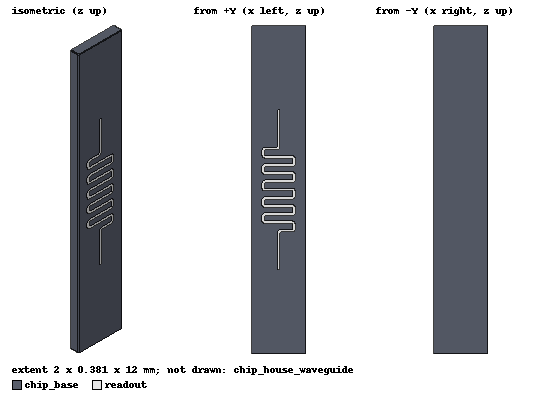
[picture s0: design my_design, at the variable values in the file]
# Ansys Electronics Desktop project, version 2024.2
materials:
  vacuum: permittivity=1
  perfect conductor: conductivity=1e+30
  silicon: permittivity=11.9
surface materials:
  Steel-oxidised-surface

design my_design (HFSS, Eigenmode, model units mm)
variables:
  spacer_length = 0.001mm
  chip_house_length = 22mm
  chip_house_radius = 2mm
  chip_base_length = 12mm
  chip_base_thickness = 381um
  chip_base_width = 2mm
  purcell_readout_gap = 2mm
  antenna_edge_gap = 0.375mm
  transmon_orientation_port_x = 0
  transmon_orientation_port_y = chip_base_thickness / 2
  transmon_orientation_port_z = -chip_house_length - spacer_length + chip_base_length-transmon_size_z - antenna_edge_gap
  transmon_size_z = 2599.998um
  readout_e1_x = 0
  readout_e1_y = chip_base_thickness / 2
  readout_e1_z = -chip_base_length/2 + readout_size_z/2
  readout_size_z = 5840um
  purcell_size_z = 5520um
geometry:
  chip_house_waveguide [vacuum] = cylinder(axis=Z, base_centre=(0mm, 0mm, -chip_base_length), radius=chip_house_radius, height=chip_base_length)
  chip_base [silicon] = box(corner=(-chip_base_width / 2, -chip_base_thickness / 2, -chip_base_length), size=(chip_base_width, chip_base_thickness, chip_base_length))
  readout = polyline((readout_e1_x + -612.4999999999998um, readout_e1_y + 7.00845618948457e-15um, readout_e1_z + -1817.633um) (readout_e1_x + -611.3659999999998um, readout_e1_y + 6.995480533453753e-15um, readout_e1_z + -1786.234um) (readout_e1_x + -607.0429999999998um, readout_e1_y + 6.946015135727807e-15um, readout_e1_z + -1760.6480000000001um) (readout_e1_x + -598.9089999999998um, readout_e1_y + 6.852942837531452e-15um, readout_e1_z + -1737.608um) (readout_e1_x + -593.3399999999998um, readout_e1_y + 6.789220237500041e-15um, readout_e1_z + -1727.038um) (readout_e1_x + -586.9019999999998um, readout_e1_y + 6.715554211462651e-15um, readout_e1_z + -1717.372um) (readout_e1_x + -579.4669999999998um, readout_e1_y + 6.630480135105396e-15um, readout_e1_z + -1708.435um) (readout_e1_x + -571.2519999999998um, readout_e1_y + 6.536481004335413e-15um, readout_e1_z + -1700.512um) (readout_e1_x + -562.1719999999998um, readout_e1_y + 6.432584217069258e-15um, readout_e1_z + -1693.473um) (readout_e1_x + -552.0699999999998um, readout_e1_y + 6.316993320046935e-15um, readout_e1_z + -1687.222um) (readout_e1_x + -529.7159999999998um, readout_e1_y + 6.061210414480016e-15um, readout_e1_z + -1677.702um) (readout_e1_x + -504.7799999999998um, readout_e1_y + 5.7758832903314664e-15um, readout_e1_z + -1672.1290000000001um) (readout_e1_x + -487.86799999999977um, readout_e1_y + 5.582369802859527e-15um, readout_e1_z + -1670.505um) (readout_e1_x + -467.0489999999998um, readout_e1_y + 5.344150946681767e-15um, readout_e1_z + -1670.003um) (readout_e1_x + 473.0150000000002um, readout_e1_y + -5.412416170561662e-15um, readout_e1_z + -1669.953um) (readout_e1_x + 488.7020000000002um, readout_e1_y + -5.591912745654632e-15um, readout_e1_z + -1669.118um) (readout_e1_x + 499.70800000000025um, readout_e1_y + -5.7178475518937624e-15um, readout_e1_z + -1666.905um) (readout_e1_x + 506.01100000000025um, readout_e1_y + -5.789968856975103e-15um, readout_e1_z + -1663.6960000000001um) (readout_e1_x + 509.06100000000026um, readout_e1_y + -5.824868108204373e-15um, readout_e1_z + -1658.204um) (readout_e1_x + 511.42900000000026um, readout_e1_y + -5.85196365801123e-15um, readout_e1_z + -1647.74um) (readout_e1_x + 512.4080000000002um, readout_e1_y + -5.863165745536953e-15um, readout_e1_z + -1633.0230000000001um) (readout_e1_x + 512.3450000000003um, readout_e1_y + -5.862444875757465e-15um, readout_e1_z + -1504.659um) (readout_e1_x + 511.47600000000017um, readout_e1_y + -5.852501449751486e-15um, readout_e1_z + -1492.6200000000001um) (readout_e1_x + 509.6390000000002um, readout_e1_y + -5.831481802371758e-15um, readout_e1_z + -1483.536um) (readout_e1_x + 506.8110000000002um, readout_e1_y + -5.799122758936882e-15um, readout_e1_z + -1477.2540000000001um) (readout_e1_x + 503.2300000000002um, readout_e1_y + -5.758147605280483e-15um, readout_e1_z + -1474.507um) (readout_e1_x + 491.7750000000002um, readout_e1_y + -5.6270751715653075e-15um, readout_e1_z + -1471.289um) (readout_e1_x + 473.9290000000002um, readout_e1_y + -5.422874503552995e-15um, readout_e1_z + -1470.061um) (readout_e1_x + 92.21200000000019um, readout_e1_y + -1.0551245096240601e-15um, readout_e1_z + -1469.984um) (readout_e1_x + 71.08800000000019um, readout_e1_y + -8.134157283233718e-16um, readout_e1_z + -1469.268um) (readout_e1_x + 53.15400000000018um, readout_e1_y + -6.082081310952643e-16um, readout_e1_z + -1467.1680000000001um) (readout_e1_x + 35.59900000000018um, readout_e1_y + -4.0733719492154807e-16um, readout_e1_z + -1463.159um) (readout_e1_x + 19.224000000000178um, readout_e1_y + -2.1996826414145104e-16um, readout_e1_z + -1457.146um) (readout_e1_x + 4.198000000000178um, readout_e1_y + -4.8035100544398465e-17um, readout_e1_z + -1449.096um) (readout_e1_x + -9.085999999999824um, readout_e1_y + 1.0396544153088747e-16um, readout_e1_z + -1439.198um) (readout_e1_x + -20.487999999999825um, readout_e1_y + 2.3443142924109597e-16um, readout_e1_z + -1427.578um) (readout_e1_x + -30.197999999999826um, readout_e1_y + 3.4553691430214875e-16um, readout_e1_z + -1414.029um) (readout_e1_x + -38.00799999999983um, readout_e1_y + 4.3490188220398417e-16um, readout_e1_z + -1398.801um) (readout_e1_x + -43.70999999999983um, readout_e1_y + 5.001463184365405e-16um, readout_e1_z + -1382.477um) (readout_e1_x + -48.512999999999835um, readout_e1_y + 5.551040573395511e-16um, readout_e1_z + -1357.1870000000001um) (readout_e1_x + -49.98999999999984um, readout_e1_y + 5.720044488364792e-16um, readout_e1_z + -1326.655um) (readout_e1_x + -50.0um, readout_e1_y + 5.721188726109834e-16um, readout_e1_z + -6.123233995736766e-15um) (readout_e1_x + 50.0um, readout_e1_y + -5.721188726109834e-16um, readout_e1_z + 6.123233995736766e-15um) (readout_e1_x + 50.00300000000016um, readout_e1_y + -5.72153199743322e-16um, readout_e1_z + -1324.441um) (readout_e1_x + 50.76000000000016um, readout_e1_y + -5.80815079474652e-16um, readout_e1_z + -1345.0620000000001um) (readout_e1_x + 53.514000000000166um, readout_e1_y + -6.123273869780649e-16um, readout_e1_z + -1358.409um) (readout_e1_x + 56.38400000000017um, readout_e1_y + -6.451670102659351e-16um, readout_e1_z + -1363.594um) (readout_e1_x + 61.43000000000017um, readout_e1_y + -7.029052468898356e-16um, readout_e1_z + -1366.426um) (readout_e1_x + 70.72500000000018um, readout_e1_y + -8.092621453082174e-16um, readout_e1_z + -1368.711um) (readout_e1_x + 83.25500000000017um, readout_e1_y + -9.526351347845297e-16um, readout_e1_z + -1369.796um) (readout_e1_x + 474.28400000000016um, readout_e1_y + -5.426936547548533e-15um, readout_e1_z + -1370.055um) (readout_e1_x + 501.8980000000002um, readout_e1_y + -5.7429063585141276e-15um, readout_e1_z + -1371.748um) (readout_e1_x + 525.5010000000001um, readout_e1_y + -6.012980793518868e-15um, readout_e1_z + -1376.4370000000001um) (readout_e1_x + 546.3300000000002um, readout_e1_y + -6.251314073471152e-15um, readout_e1_z + -1384.27um) (readout_e1_x + 564.6090000000003um, readout_e1_y + -6.460469290920276e-15um, readout_e1_z + -1395.214um) (readout_e1_x + 580.0720000000002um, readout_e1_y + -6.637402773463948e-15um, readout_e1_z + -1409.092um) (readout_e1_x + 592.4810000000002um, readout_e1_y + -6.7793912352685406e-15um, readout_e1_z + -1425.616um) (readout_e1_x + 601.9010000000003um, readout_e1_y + -6.887178430868451e-15um, readout_e1_z + -1444.604um) (readout_e1_x + 608.2540000000002um, readout_e1_y + -6.959871854822402e-15um, readout_e1_z + -1465.79um) (readout_e1_x + 611.5950000000003um, readout_e1_y + -6.998100837890267e-15um, readout_e1_z + -1488.8310000000001um) (readout_e1_x + 612.5000000000002um, readout_e1_y + -7.008456189484525e-15um, readout_e1_z + -1517.633um) (readout_e1_x + 611.9950000000002um, readout_e1_y + -7.002677788871153e-15um, readout_e1_z + -1645.368um) (readout_e1_x + 608.9790000000003um, readout_e1_y + -6.968167578475258e-15um, readout_e1_z + -1670.6680000000001um) (readout_e1_x + 602.7860000000003um, readout_e1_y + -6.897304934913662e-15um, readout_e1_z + -1693.073um) (readout_e1_x + 597.0770000000002um, readout_e1_y + -6.831980402038939e-15um, readout_e1_z + -1706.164um) (readout_e1_x + 589.8660000000002um, readout_e1_y + -6.749469418230982e-15um, readout_e1_z + -1718.4460000000001um) (readout_e1_x + 581.2600000000002um, readout_e1_y + -6.650996317877179e-15um, readout_e1_z + -1729.585um) (readout_e1_x + 571.5860000000002um, readout_e1_y + -6.540302758404407e-15um, readout_e1_z + -1739.198um) (readout_e1_x + 560.4190000000002um, readout_e1_y + -6.412525729395469e-15um, readout_e1_z + -1747.72um) (readout_e1_x + 548.4850000000002um, readout_e1_y + -6.27597239688068e-15um, readout_e1_z + -1754.6680000000001um) (readout_e1_x + 535.2170000000002um, readout_e1_y + -6.12415493284463e-15um, readout_e1_z + -1760.4170000000001um) (readout_e1_x + 520.6440000000002um, readout_e1_y + -5.957405166233433e-15um, readout_e1_z + -1764.845um) (readout_e1_x + 497.34700000000026um, readout_e1_y + -5.6908320987290716e-15um, readout_e1_z + -1768.761um) (readout_e1_x + 469.15500000000026um, readout_e1_y + -5.368248593596093e-15um, readout_e1_z + -1769.99um) (readout_e1_x + -476.40199999999976um, readout_e1_y + 5.451171502992378e-15um, readout_e1_z + -1770.113um) (readout_e1_x + -493.6799999999998um, readout_e1_y + 5.6488729006118296e-15um, readout_e1_z + -1771.608um) (readout_e1_x + -504.7339999999998um, readout_e1_y + 5.775356940968666e-15um, readout_e1_z + -1775.346um) (readout_e1_x + -508.8049999999998um, readout_e1_y + 5.821938859576652e-15um, readout_e1_z + -1781.116um) (readout_e1_x + -511.4479999999998um, readout_e1_y + 5.852181063182869e-15um, readout_e1_z + -1792.404um) (readout_e1_x + -512.4929999999998um, readout_e1_y + 5.864138347620438e-15um, readout_e1_z + -1814.24um) (readout_e1_x + -511.9289999999998um, readout_e1_y + 5.857684846737388e-15um, readout_e1_z + -1943.001um) (readout_e1_x + -510.26699999999977um, readout_e1_y + 5.838667615411799e-15um, readout_e1_z + -1954.145um) (readout_e1_x + -507.3529999999998um, readout_e1_y + 5.805324527516032e-15um, readout_e1_z + -1961.911um) (readout_e1_x + -504.0779999999998um, readout_e1_y + 5.767850741360013e-15um, readout_e1_z + -1965.046um) (readout_e1_x + -497.1889999999998um, readout_e1_y + 5.689024203091671e-15um, readout_e1_z + -1967.632um) (readout_e1_x + -485.5009999999998um, readout_e1_y + 5.5552856954301276e-15um, readout_e1_z + -1969.429um) (readout_e1_x + -468.25999999999976um, readout_e1_y + 5.358007665776408e-15um, readout_e1_z + -1969.993um) (readout_e1_x + 465.9520000000002um, readout_e1_y + -5.331598658616631e-15um, readout_e1_z + -1970.001um) (readout_e1_x + 497.34700000000026um, readout_e1_y + -5.6908320987290684e-15um, readout_e1_z + -1971.239um) (readout_e1_x + 519.9560000000002um, readout_e1_y + -5.9495328105463025e-15um, readout_e1_z + -1974.988um) (readout_e1_x + 540.4040000000002um, readout_e1_y + -6.18350654468929e-15um, readout_e1_z + -1981.614um) (readout_e1_x + 558.6560000000003um, readout_e1_y + -6.392352817947204e-15um, readout_e1_z + -1991.1290000000001um) (readout_e1_x + 574.5550000000003um, readout_e1_y + -6.574275177060044e-15um, readout_e1_z + -2003.491um) (readout_e1_x + 587.6660000000003um, readout_e1_y + -6.724296187836095e-15um, readout_e1_z + -2018.411um) (readout_e1_x + 598.2300000000002um, readout_e1_y + -6.8451734632413436e-15um, readout_e1_z + -2036.17um) (readout_e1_x + 605.7610000000002um, readout_e1_y + -6.93134600783401e-15um, readout_e1_z + -2055.949um) (readout_e1_x + 610.4160000000003um, readout_e1_y + -6.984610274874092e-15um, readout_e1_z + -2078.042um) (readout_e1_x + 612.4550000000003um, readout_e1_y + -7.007941282499168e-15um, readout_e1_z + -2109.001um) (readout_e1_x + 612.3740000000003um, readout_e1_y + -7.007014449925536e-15um, readout_e1_z + -2235.6530000000002um) (readout_e1_x + 610.4160000000003um, readout_e1_y + -6.9846102748740896e-15um, readout_e1_z + -2261.958um) (readout_e1_x + 605.5030000000003um, readout_e1_y + -6.9283938744513345e-15um, readout_e1_z + -2284.927um) (readout_e1_x + 600.2770000000003um, readout_e1_y + -6.868596009886034e-15um, readout_e1_z + -2299.339um) (readout_e1_x + 593.6550000000002um, readout_e1_y + -6.7928245863974345e-15um, readout_e1_z + -2312.428um) (readout_e1_x + 585.4610000000004um, readout_e1_y + -6.699065745553947e-15um, readout_e1_z + -2324.52um) (readout_e1_x + 576.0130000000004um, readout_e1_y + -6.590958163385376e-15um, readout_e1_z + -2335.109um) (readout_e1_x + 565.1280000000004um, readout_e1_y + -6.4664078848179645e-15um, readout_e1_z + -2344.402um) (readout_e1_x + 552.9650000000004um, readout_e1_y + -6.327234247866616e-15um, readout_e1_z + -2352.281um) (readout_e1_x + 539.6870000000004um, readout_e1_y + -6.175302360056043e-15um, readout_e1_z + -2358.683um) (readout_e1_x + 524.9770000000003um, readout_e1_y + -6.006984987733892e-15um, readout_e1_z + -2363.71um) (readout_e1_x + 500.4740000000003um, readout_e1_y + -5.726612413022153e-15um, readout_e1_z + -2368.4230000000002um) (readout_e1_x + 470.2880000000003um, readout_e1_y + -5.38121280724945e-15um, readout_e1_z + -2369.984um) (readout_e1_x + -476.4019999999997um, readout_e1_y + 5.4511715029923856e-15um, readout_e1_z + -2370.113um) (readout_e1_x + -493.5529999999997um, readout_e1_y + 5.647419718675405e-15um, readout_e1_z + -2371.585um) (readout_e1_x + -504.4109999999997um, readout_e1_y + 5.771661053051607e-15um, readout_e1_z + -2375.147um) (readout_e1_x + -508.48699999999974um, readout_e1_y + 5.818300183546854e-15um, readout_e1_z + -2380.342um) (readout_e1_x + -511.24199999999973um, readout_e1_y + 5.849823933427719e-15um, readout_e1_z + -2390.93um) (readout_e1_x + -512.4929999999997um, readout_e1_y + 5.864138347620447e-15um, readout_e1_z + -2414.2400000000002um) (readout_e1_x + -511.92899999999975um, readout_e1_y + 5.857684846737397e-15um, readout_e1_z + -2543.001um) (readout_e1_x + -510.2269999999997um, readout_e1_y + 5.838209920313719e-15um, readout_e1_z + -2554.31um) (readout_e1_x + -507.3259999999997um, readout_e1_y + 5.805015583324829e-15um, readout_e1_z + -2561.956um) (readout_e1_x + -504.0279999999997um, readout_e1_y + 5.767278622487409e-15um, readout_e1_z + -2565.074um) (readout_e1_x + -497.02699999999965um, readout_e1_y + 5.687170537944419e-15um, readout_e1_z + -2567.6730000000002um) (readout_e1_x + -485.5009999999997um, readout_e1_y + 5.5552856954301355e-15um, readout_e1_z + -2569.429um) (readout_e1_x + -468.25999999999965um, readout_e1_y + 5.358007665776416e-15um, readout_e1_z + -2569.993um) (readout_e1_x + 465.95200000000034um, readout_e1_y + -5.331598658616623e-15um, readout_e1_z + -2570.001um) (readout_e1_x + 496.26600000000036um, readout_e1_y + -5.67846288870321e-15um, readout_e1_z + -2571.134um) (readout_e1_x + 518.7560000000003um, readout_e1_y + -5.93580195760363e-15um, readout_e1_z + -2574.705um) (readout_e1_x + 538.9700000000004um, readout_e1_y + -6.167098175422799e-15um, readout_e1_z + -2581.026um) (readout_e1_x + 557.4170000000004um, readout_e1_y + -6.378175712283895e-15um, readout_e1_z + -2590.348um) (readout_e1_x + 573.0780000000003um, readout_e1_y + -6.5573747855631065e-15um, readout_e1_z + -2602.128um) (readout_e1_x + 586.3840000000004um, readout_e1_y + -6.709627059942342e-15um, readout_e1_z + -2616.6820000000002um) (readout_e1_x + 596.8020000000004um, readout_e1_y + -6.8288337482395665e-15um, readout_e1_z + -2633.297um) (readout_e1_x + 604.7980000000003um, readout_e1_y + -6.920326998347514e-15um, readout_e1_z + -2652.784um) (readout_e1_x + 609.8040000000003um, readout_e1_y + -6.977607539873325e-15um, readout_e1_z + -2673.977um) (readout_e1_x + 611.5950000000004um, readout_e1_y + -6.998100837890251e-15um, readout_e1_z + -2688.831um) (readout_e1_x + 612.4250000000004um, readout_e1_y + -7.007598011175593e-15um, readout_e1_z + -2706.896um) (readout_e1_x + 612.4030000000004um, readout_e1_y + -7.007346278871642e-15um, readout_e1_z + -2834.304um) (readout_e1_x + 610.5470000000004um, readout_e1_y + -6.986109226320322e-15um, readout_e1_z + -2860.994um) (readout_e1_x + 605.7610000000003um, readout_e1_y + -6.931346007833998e-15um, readout_e1_z + -2884.051um) (readout_e1_x + 600.6600000000003um, readout_e1_y + -6.872978440450225e-15um, readout_e1_z + -2898.442um) (readout_e1_x + 594.0700000000004um, readout_e1_y + -6.797573173040099e-15um, readout_e1_z + -2911.715um) (readout_e1_x + 585.9910000000003um, readout_e1_y + -6.705130205603615e-15um, readout_e1_z + -2923.8340000000003um) (readout_e1_x + 576.6560000000004um, readout_e1_y + -6.598315612087145e-15um, readout_e1_z + -2934.475um) (readout_e1_x + 565.8180000000003um, readout_e1_y + -6.474303125259987e-15um, readout_e1_z + -2943.884um) (readout_e1_x + 553.5010000000003um, readout_e1_y + -6.333367362180997e-15um, readout_e1_z + -2951.9790000000003um) (readout_e1_x + 540.2240000000004um, readout_e1_y + -6.1814469167478776e-15um, readout_e1_z + -2958.4610000000002um) (readout_e1_x + 525.5010000000003um, readout_e1_y + -6.0129807935188466e-15um, readout_e1_z + -2963.563um) (readout_e1_x + 500.47400000000033um, readout_e1_y + -5.726612413022145e-15um, readout_e1_z + -2968.4230000000002um) (readout_e1_x + 470.28800000000035um, readout_e1_y + -5.3812128072494424e-15um, readout_e1_z + -2969.984um) (readout_e1_x + -475.9149999999997um, readout_e1_y + 5.445599065173163e-15um, readout_e1_z + -2970.101um) (readout_e1_x + -492.9729999999997um, readout_e1_y + 5.640783139753126e-15um, readout_e1_z + -2971.483um) (readout_e1_x + -503.8739999999997um, readout_e1_y + 5.765516496359773e-15um, readout_e1_z + -2974.841um) (readout_e1_x + -507.99299999999965um, readout_e1_y + 5.8126476490854656e-15um, readout_e1_z + -2979.27um) (readout_e1_x + -510.93799999999965um, readout_e1_y + 5.846345450682253e-15um, readout_e1_z + -2989.0750000000003um) (readout_e1_x + -512.4829999999997um, readout_e1_y + 5.864023923845933e-15um, readout_e1_z + -3012.407um) (readout_e1_x + -511.9809999999996um, readout_e1_y + 5.8582798503649194e-15um, readout_e1_z + -3142.3450000000003um) (readout_e1_x + -510.3069999999996um, readout_e1_y + 5.839125310509904e-15um, readout_e1_z + -3153.978um) (readout_e1_x + -507.3529999999996um, readout_e1_y + 5.805324527516048e-15um, readout_e1_z + -3161.911um) (readout_e1_x + -504.0279999999996um, readout_e1_y + 5.767278622487418e-15um, readout_e1_z + -3165.074um) (readout_e1_x + -496.9189999999996um, readout_e1_y + 5.685934761179588e-15um, readout_e1_z + -3167.7000000000003um) (readout_e1_x + -485.50099999999964um, readout_e1_y + 5.555285695430144e-15um, readout_e1_z + -3169.429um) (readout_e1_x + -468.2599999999996um, readout_e1_y + 5.358007665776425e-15um, readout_e1_z + -3169.993um) (readout_e1_x + 465.9520000000004um, readout_e1_y + -5.3315986586166144e-15um, readout_e1_z + -3170.001um) (readout_e1_x + 495.3450000000004um, readout_e1_y + -5.667924459069707e-15um, readout_e1_z + -3171.049um) (readout_e1_x + 517.2200000000004um, readout_e1_y + -5.918226465837013e-15um, readout_e1_z + -3174.358um) (readout_e1_x + 537.1810000000004um, readout_e1_y + -6.1466277621607696e-15um, readout_e1_z + -3180.321um) (readout_e1_x + 555.4620000000003um, readout_e1_y + -6.355805864364797e-15um, readout_e1_z + -3189.16um) (readout_e1_x + 571.0850000000004um, readout_e1_y + -6.534570127300826e-15um, readout_e1_z + -3200.368um) (readout_e1_x + 584.2420000000003um, readout_e1_y + -6.685117487439678e-15um, readout_e1_z + -3213.944um) (readout_e1_x + 594.9810000000003um, readout_e1_y + -6.807997178899066e-15um, readout_e1_z + -3229.893um) (readout_e1_x + 603.3040000000003um, readout_e1_y + -6.903232086433889e-15um, readout_e1_z + -3248.352um) (readout_e1_x + 608.8150000000005um, readout_e1_y + -6.9662910285730726e-15um, readout_e1_z + -3268.493um) (readout_e1_x + 611.2610000000004um, readout_e1_y + -6.9942790838212e-15um, readout_e1_z + -3285.1530000000002um) (readout_e1_x + 612.3740000000005um, readout_e1_y + -7.0070144499255215e-15um, readout_e1_z + -3304.347um) (readout_e1_x + 612.4450000000005um, readout_e1_y + -7.007826858724628e-15um, readout_e1_z + -3431.784um) (readout_e1_x + 610.7520000000005um, readout_e1_y + -6.988454913698019e-15um, readout_e1_z + -3459.398um) (readout_e1_x + 606.0630000000004um, readout_e1_y + -6.93480160582456e-15um, readout_e1_z + -3483.001um) (readout_e1_x + 600.9610000000005um, readout_e1_y + -6.876422596063336e-15um, readout_e1_z + -3497.724um) (readout_e1_x + 594.4790000000005um, readout_e1_y + -6.802253105418047e-15um, readout_e1_z + -3511.001um) (readout_e1_x + 586.3840000000005um, readout_e1_y + -6.7096270599423294e-15um, readout_e1_z + -3523.318um) (readout_e1_x + 576.9750000000005um, readout_e1_y + -6.601965730494394e-15um, readout_e1_z + -3534.156um) (readout_e1_x + 565.8180000000004um, readout_e1_y + -6.474303125259979e-15um, readout_e1_z + -3543.884um) (readout_e1_x + 553.5010000000004um, readout_e1_y + -6.333367362180989e-15um, readout_e1_z + -3551.9790000000003um) (readout_e1_x + 540.2240000000005um, readout_e1_y + -6.18144691674787e-15um, readout_e1_z + -3558.4610000000002um) (readout_e1_x + 525.5010000000004um, readout_e1_y + -6.012980793518839e-15um, readout_e1_z + -3563.563um) (readout_e1_x + 500.47400000000044um, readout_e1_y + -5.726612413022136e-15um, readout_e1_z + -3568.4230000000002um) (readout_e1_x + 470.28800000000047um, readout_e1_y + -5.381212807249434e-15um, readout_e1_z + -3569.984um) (readout_e1_x + -475.52299999999957um, readout_e1_y + 5.4411136532119015e-15um, readout_e1_z + -3570.092um) (readout_e1_x + -492.04599999999954um, readout_e1_y + 5.630176055854927e-15um, readout_e1_z + -3571.331um) (readout_e1_x + -503.10999999999956um, readout_e1_y + 5.7567745199862855e-15um, readout_e1_z + -3574.448um) (readout_e1_x + -507.35299999999955um, readout_e1_y + 5.805324527516054e-15um, readout_e1_z + -3578.089um) (readout_e1_x + -510.50199999999955um, readout_e1_y + 5.841356574113093e-15um, readout_e1_z + -3586.876um) (readout_e1_x + -511.9289999999996um, readout_e1_y + 5.857684846737411e-15um, readout_e1_z + -3596.9990000000003um) (readout_e1_x + -512.4759999999995um, readout_e1_y + 5.863943827203775e-15um, readout_e1_z + -3611.56um) (readout_e1_x + -511.98099999999954um, readout_e1_y + 5.858279850364928e-15um, readout_e1_z + -3742.3450000000003um) (readout_e1_x + -510.30699999999956um, readout_e1_y + 5.8391253105099125e-15um, readout_e1_z + -3753.978um) (readout_e1_x + -507.35299999999955um, readout_e1_y + 5.805324527516056e-15um, readout_e1_z + -3761.911um) (readout_e1_x + -503.87399999999957um, readout_e1_y + 5.765516496359784e-15um, readout_e1_z + -3765.159um) (readout_e1_x + -496.80999999999955um, readout_e1_y + 5.684687542037304e-15um, readout_e1_z + -3767.727um) (readout_e1_x + -485.33799999999957um, readout_e1_y + 5.55342058790544e-15um, readout_e1_z + -3769.442um) (readout_e1_x + -468.25999999999954um, readout_e1_y + 5.3580076657764325e-15um, readout_e1_z + -3769.993um) (readout_e1_x + 465.95200000000045um, readout_e1_y + -5.3315986586166065e-15um, readout_e1_z + -3770.001um) (readout_e1_x + 494.1240000000005um, readout_e1_y + -5.6539533162005395e-15um, readout_e1_z + -3770.943um) (readout_e1_x + 515.6930000000004um, readout_e1_y + -5.900753955467465e-15um, readout_e1_z + -3774.029um) (readout_e1_x + 535.2170000000004um, readout_e1_y + -6.124154932844602e-15um, readout_e1_z + -3779.583um) (readout_e1_x + 552.6070000000004um, readout_e1_y + -6.3231378767387015e-15um, readout_e1_z + -3787.5190000000002um) (readout_e1_x + 568.2160000000005um, readout_e1_y + -6.501741946390399e-15um, readout_e1_z + -3797.984um) (readout_e1_x + 581.4060000000005um, readout_e1_y + -6.652666904985176e-15um, readout_e1_z + -3810.581um) (readout_e1_x + 592.4810000000004um, readout_e1_y + -6.779391235268508e-15um, readout_e1_z + -3825.616um) (readout_e1_x + 601.1830000000004um, readout_e1_y + -6.8789628038577234e-15um, readout_e1_z + -3842.813um) (readout_e1_x + 607.2170000000004um, readout_e1_y + -6.948006109404416e-15um, readout_e1_z + -3861.339um) (readout_e1_x + 610.6720000000005um, readout_e1_y + -6.987539523501836e-15um, readout_e1_z + -3879.965um) (readout_e1_x + 612.2990000000004um, readout_e1_y + -7.006156271616596e-15um, readout_e1_z + -3901.6040000000003um) (readout_e1_x + 612.4940000000005um, readout_e1_y + -7.008387535219778e-15um, readout_e1_z + -4025.658um) (readout_e1_x + 611.1160000000004um, readout_e1_y + -6.992619939090618e-15um, readout_e1_z + -4056.2470000000003um) (readout_e1_x + 606.5440000000004um, readout_e1_y + -6.9403053893790704e-15um, readout_e1_z + -4081.2580000000003um) (readout_e1_x + 601.5460000000005um, readout_e1_y + -6.883116386872876e-15um, readout_e1_z + -4096.291um) (readout_e1_x + 594.9810000000004um, readout_e1_y + -6.807997178899054e-15um, readout_e1_z + -4110.107um) (readout_e1_x + 586.9020000000005um, readout_e1_y + -6.715554211462571e-15um, readout_e1_z + -4122.628um) (readout_e1_x + 577.6090000000005um, readout_e1_y + -6.6092201977990936e-15um, readout_e1_z + -4133.513um) (readout_e1_x + 566.6780000000005um, readout_e1_y + -6.48414356986888e-15um, readout_e1_z + -4143.227um) (readout_e1_x + 554.3930000000005um, readout_e1_y + -6.343573962868361e-15um, readout_e1_z + -4151.467um) (readout_e1_x + 540.7620000000005um, readout_e1_y + -6.187602915817155e-15um, readout_e1_z + -4158.236um) (readout_e1_x + 526.2000000000005um, readout_e1_y + -6.020979015357933e-15um, readout_e1_z + -4163.363um) (readout_e1_x + 500.7890000000005um, readout_e1_y + -5.730216761919578e-15um, readout_e1_z + -4168.386um) (readout_e1_x + 470.2880000000005um, readout_e1_y + -5.381212807249426e-15um, readout_e1_z + -4169.984um) (readout_e1_x + -475.0289999999995um, readout_e1_y + 5.435461118750513e-15um, readout_e1_z + -4170.082um) (readout_e1_x + -490.7359999999995um, readout_e1_y + 5.615186541392527e-15um, readout_e1_z + -4171.138um) (readout_e1_x + -501.6499999999995um, readout_e1_y + 5.740068648906053e-15um, readout_e1_z + -4173.801um) (readout_e1_x + -506.5819999999995um, readout_e1_y + 5.7965024545004e-15um, readout_e1_z + -4176.946um) (readout_e1_x + -509.8539999999995um, readout_e1_y + 5.8339419135240625e-15um, readout_e1_z + -4184.272um) (readout_e1_x + -511.6599999999995um, readout_e1_y + 5.8546068472027715e-15um, readout_e1_z + -4194.174um) (readout_e1_x + -512.4389999999994um, readout_e1_y + 5.863520459238051e-15um, readout_e1_z + -4208.571um) (readout_e1_x + -512.3099999999995um, readout_e1_y + 5.862044392546718e-15um, readout_e1_z + -4336.374um) (readout_e1_x + -511.3909999999995um, readout_e1_y + 5.851528847668127e-15um, readout_e1_z + -4348.024um) (readout_e1_x + -509.5079999999995um, readout_e1_y + 5.829982850925598e-15um, readout_e1_z + -4356.888um) (readout_e1_x + -506.6979999999995um, readout_e1_y + 5.79782977028486e-15um, readout_e1_z + -4362.901um) (readout_e1_x + -503.1099999999995um, readout_e1_y + 5.756774519986296e-15um, readout_e1_z + -4365.552um) (readout_e1_x + -491.5699999999995um, readout_e1_y + 5.624729484187681e-15um, readout_e1_z + -4368.742um) (readout_e1_x + -473.4219999999995um, readout_e1_y + 5.4170732181847984e-15um, readout_e1_z + -4369.947um) (readout_e1_x + -92.21199999999946um, readout_e1_y + 1.0551245096241394e-15um, readout_e1_z + -4370.0160000000005um) (readout_e1_x + -72.57499999999946um, readout_e1_y + 8.304305435949018e-16um, readout_e1_z + -4370.63um) (readout_e1_x + -55.28599999999947um, readout_e1_y + 6.32603279823476e-16um, readout_e1_z + -4372.488um) (readout_e1_x + -38.393999999999465um, readout_e1_y + 4.393186399005814e-16um, readout_e1_z + -4376.05um) (readout_e1_x + -22.095999999999464um, readout_e1_y + 2.5283077218430533e-16um, readout_e1_z + -4381.6140000000005um) (readout_e1_x + -7.571999999999463um, readout_e1_y + 8.664168206826698e-17um, readout_e1_z + -4388.845um) (readout_e1_x + 5.716000000000538um, readout_e1_y + -6.540462951682783e-17um, readout_e1_z + -4397.984um) (readout_e1_x + 17.11900000000054um, readout_e1_y + -1.9588205960448855e-16um, readout_e1_z + -4408.599um) (readout_e1_x + 27.00900000000054um, readout_e1_y + -3.0904717260694087e-16um, readout_e1_z + -4421.028um) (readout_e1_x + 35.02800000000054um, readout_e1_y + -4.0080359739629015e-16um, readout_e1_z + -4434.733um) (readout_e1_x + 41.42400000000055um, readout_e1_y + -4.739890435806869e-16um, readout_e1_z + -4450.129um) (readout_e1_x + 45.29500000000055um, readout_e1_y + -5.182824866982291e-16um, readout_e1_z + -4463.744um) (readout_e1_x + 47.91600000000055um, readout_e1_y + -5.482729580004967e-16um, readout_e1_z + -4478.042um) (readout_e1_x + 49.984000000000556um, readout_e1_y + -5.719357945716865e-16um, readout_e1_z + -4512.212um) (readout_e1_x + 50.00000000000072um, readout_e1_y + -5.72118872610904e-16um, readout_e1_z + -5840.0um) (readout_e1_x + -49.99999999999928um, readout_e1_y + 5.721188726110628e-16um, readout_e1_z + -5840.0um) (readout_e1_x + -50.002999999999446um, readout_e1_y + 5.721531997434014e-16um, readout_e1_z + -4515.559um) (readout_e1_x + -50.839999999999456um, readout_e1_y + 5.81730469670909e-16um, readout_e1_z + -4494.174um) (readout_e1_x + -53.69499999999945um, readout_e1_y + 6.14398457296996e-16um, readout_e1_z + -4481.116um) (readout_e1_x + -56.550999999999455um, readout_e1_y + 6.470778873005353e-16um, readout_e1_z + -4476.247um) (readout_e1_x + -62.523999999999454um, readout_e1_y + 7.154232078226433e-16um, readout_e1_z + -4473.184um) (readout_e1_x + -72.40399999999944um, readout_e1_y + 8.284738970505734e-16um, readout_e1_z + -4471.052um) (readout_e1_x + -86.09799999999944um, readout_e1_y + 9.851658138812696e-16um, readout_e1_z + -4470.113um) (readout_e1_x + -488.3059999999994um, readout_e1_y + 5.587381564183637e-15um, readout_e1_z + -4469.47um) (readout_e1_x + -507.21399999999943um, readout_e1_y + 5.803734037050207e-15um, readout_e1_z + -4467.512um) (readout_e1_x + -524.1059999999994um, readout_e1_y + 5.997018676973101e-15um, readout_e1_z + -4463.95um) (readout_e1_x + -539.6869999999994um, readout_e1_y + 6.1753023600561365e-15um, readout_e1_z + -4458.683um) (readout_e1_x + -554.0359999999995um, readout_e1_y + 6.339489034118036e-15um, readout_e1_z + -4451.673um) (readout_e1_x + -564.6089999999995um, readout_e1_y + 6.460469290920355e-15um, readout_e1_z + -4444.786um) (readout_e1_x + -574.0649999999995um, readout_e1_y + 6.568668412108544e-15um, readout_e1_z + -4436.967um) (readout_e1_x + -582.7049999999995um, readout_e1_y + 6.667530553295722e-15um, readout_e1_z + -4427.914um) (readout_e1_x + -590.1019999999994um, readout_e1_y + 6.7521698193097896e-15um, readout_e1_z + -4418.095um) (readout_e1_x + -596.4299999999995um, readout_e1_y + 6.824577183827436e-15um, readout_e1_z + -4407.42um) (readout_e1_x + -601.9009999999995um, readout_e1_y + 6.887178430868531e-15um, readout_e1_z + -4395.396um) (readout_e1_x + -606.0629999999994um, readout_e1_y + 6.9348016058246676e-15um, readout_e1_z + -4383.001um) (readout_e1_x + -609.1689999999994um, readout_e1_y + 6.970341630191261e-15um, readout_e1_z + -4369.665um) (readout_e1_x + -611.4089999999994um, readout_e1_y + 6.995972555684233e-15um, readout_e1_z + -4353.305um) (readout_e1_x + -612.3919999999995um, readout_e1_y + 7.007220412719766e-15um, readout_e1_z + -4334.842um) (readout_e1_x + -612.4839999999995um, readout_e1_y + 7.008273111445368e-15um, readout_e1_z + -4212.212um) (readout_e1_x + -611.2609999999994um, readout_e1_y + 6.994279083821302e-15um, readout_e1_z + -4185.153um) (readout_e1_x + -607.6349999999995um, readout_e1_y + 6.952789023179554e-15um, readout_e1_z + -4163.059um) (readout_e1_x + -601.6889999999995um, readout_e1_y + 6.8847526468486545e-15um, readout_e1_z + -4144.067um) (readout_e1_x + -593.2339999999996um, readout_e1_y + 6.788007345490138e-15um, readout_e1_z + -4126.86um) (readout_e1_x + -582.1319999999996um, readout_e1_y + 6.660974071015596e-15um, readout_e1_z + -4111.415um) (readout_e1_x + -568.8949999999995um, readout_e1_y + 6.509511320680563e-15um, readout_e1_z + -4098.533um) (readout_e1_x + -553.5009999999995um, readout_e1_y + 6.333367362181093e-15um, readout_e1_z + -4088.021um) (readout_e1_x + -535.5729999999995um, readout_e1_y + 6.1282284192176985e-15um, readout_e1_z + -4079.714um) (readout_e1_x + -516.3709999999995um, readout_e1_y + 5.908511887380176e-15um, readout_e1_z + -4074.1730000000002um) (readout_e1_x + -494.7329999999995um, readout_e1_y + 5.660921724069047e-15um, readout_e1_z + -4070.995um) (readout_e1_x + -465.9519999999995um, readout_e1_y + 5.331598658616713e-15um, readout_e1_z + -4070.001um) (readout_e1_x + 468.2600000000005um, readout_e1_y + -5.358007665776326e-15um, readout_e1_z + -4069.993um) (readout_e1_x + 485.50100000000054um, readout_e1_y + -5.5552856954300455e-15um, readout_e1_z + -4069.429um) (readout_e1_x + 496.9190000000005um, readout_e1_y + -5.6859347611794895e-15um, readout_e1_z + -4067.7000000000003um) (readout_e1_x + 504.07800000000054um, readout_e1_y + -5.767850741359931e-15um, readout_e1_z + -4065.0460000000003um) (readout_e1_x + 507.4350000000005um, readout_e1_y + -5.806262802467032e-15um, readout_e1_z + -4061.772um) (readout_e1_x + 510.41200000000055um, readout_e1_y + -5.84032676014229e-15um, readout_e1_z + -4053.5280000000002um) (readout_e1_x + 512.0300000000004um, readout_e1_y + -5.8588405268599804e-15um, readout_e1_z + -4041.6800000000003um) (readout_e1_x + 512.4530000000004um, readout_e1_y + -5.863680652522272e-15um, readout_e1_z + -3909.485um) (readout_e1_x + 511.6600000000005um, readout_e1_y + -5.854606847202662e-15um, readout_e1_z + -3894.174um) (readout_e1_x + 509.74000000000046um, readout_e1_y + -5.8326374824944e-15um, readout_e1_z + -3883.875um)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, closed, covered)
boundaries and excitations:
  readout_perfect_e: Perfect E Objects=readout
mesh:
  chip_base_mesh: LengthBased RefineInside Objects=chip_base MaxLength=500um
  readout_mesh: LengthBased Objects=readout MaxLength=100um
  initial mesh: MeshMethod=AnsoftClassic DynamicSurfaceResolution
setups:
  Setup1: HfssEigen MinimumFrequency=2GHz NumModes=1 MaxDeltaFreq=0.2 ConvergeOnRealFreq=true MaximumPasses=3 MinimumPasses=1 MinimumConvergedPasses=1 PercentRefinement=30 BasisOrder=-1
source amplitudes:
  #-10:1: 1 0deg
